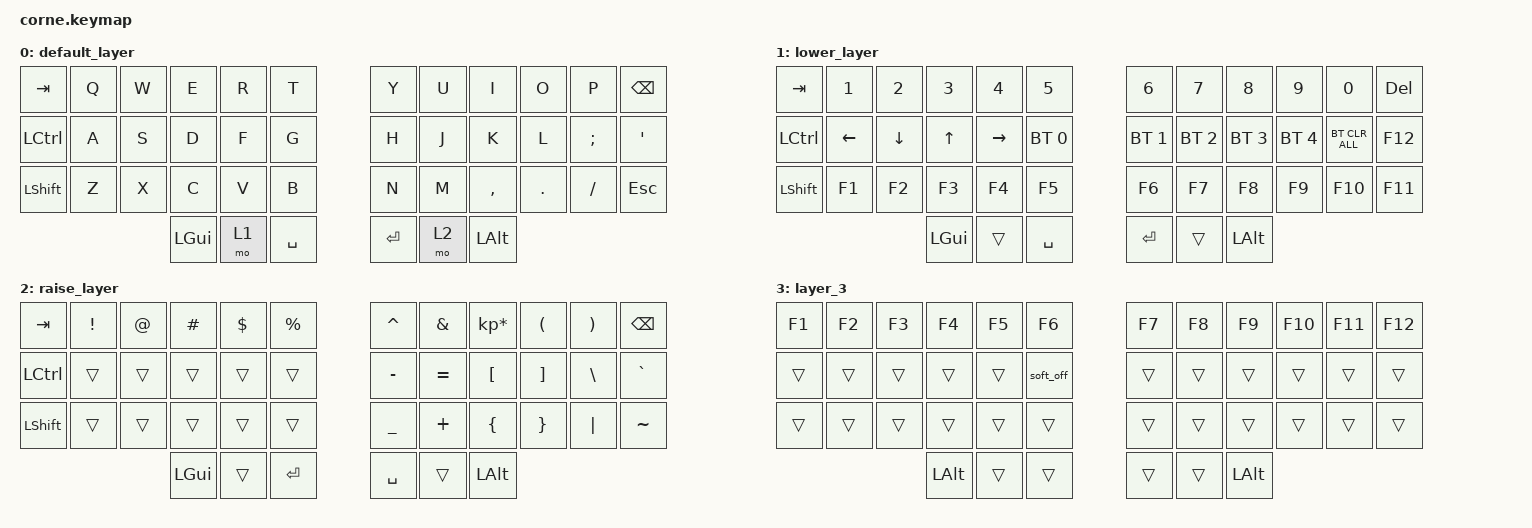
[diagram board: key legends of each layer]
/*
 * Copyright (c) 2020 The ZMK Contributors
 *
 * SPDX-License-Identifier: MIT
 */

#include <behaviors.dtsi>
#include <dt-bindings/zmk/bt.h>
#include <dt-bindings/zmk/keys.h>

&soft_off {
    compatible = "zmk,behavior-soft-off";
    #binding-cells = <0>;
    hold-time-ms = <3000>; // Only turn off it the key is held for 3 seconds or longer.
};

/ {
    behaviors {
    };

    keymap {
        compatible = "zmk,keymap";

        default_layer {
            // -----------------------------------------------------------------------------------------
            // |  TAB |  Q  |  W  |  E  |  R  |  T  |   |  Y  |  U   |  I  |  O  |  P  | BKSP |
            // | CTRL |  A  |  S  |  D  |  F  |  G  |   |  H  |  J   |  K  |  L  |  ;  |  '   |
            // | SHFT |  Z  |  X  |  C  |  V  |  B  |   |  B  |  N   |  M  |  ,  |  .  | ESC  |
            //                    | ALT | LWR | ENT |   | SPC | RSE  | GUI |

            bindings = <
&kp TAB    &kp Q  &kp W  &kp E     &kp R  &kp T        &kp Y      &kp U  &kp I         &kp O       &kp P      &kp BSPC
&kp LCTRL  &kp A  &kp S  &kp D     &kp F  &kp G        &kp H      &kp J  &kp K         &kp L       &kp SEMI   &kp SQT
&kp LSHFT  &kp Z  &kp X  &kp C     &kp V  &kp B        &kp N      &kp M  &kp COMMA     &kp PERIOD  &kp SLASH  &kp ESCAPE
                         &kp LGUI  &mo 1  &kp SPACE    &kp ENTER  &mo 2  &kp LEFT_ALT
            >;
        };
 lower_layer {
            // -----------------------------------------------------------------------------------------
            // |  TAB |  1  |  2  |  3  |  4  |  5  |   |  6  |  7  |  8  |  9  |  0  | DEL  |
            // | BTCLR| BT1 | BT2 | BT3 | BT4 | BT5 |   |     |     |     | VOL_UP|  UP | VOL_DN |
            // | SHFT | FSLZ |EXT_POWER_OFF_CMD|     |     |     |   |     |     |     | LFT | DWN | RGT  |
            //                    | GUI |     | RET |   | SPC |     | ALT |
            bindings = <
&kp TAB         &kp N1        &kp N2        &kp N3        &kp N4        &kp N5          &kp N6     &kp N7    &kp N8    &kp N9     &kp N0   &kp DEL
&kp LCTRL       &kp LEFT      &kp DOWN      &kp UP        &kp RIGHT     &bt BT_SEL 0    &bt BT_SEL 1   &bt BT_SEL 2  &bt BT_SEL 3    &bt BT_SEL 4  &bt BT_CLR_ALL  &kp F12
&kp LSHFT       &kp F1        &kp F2        &kp F3        &kp F4        &kp F5          &kp F6     &kp F7    &kp F8    &kp F9     &kp F10  &kp F11
                                            &kp LGUI      &trans        &kp SPACE       &kp ENTER  &trans    &kp LALT
            >;
        };
        raise_layer {
            // -----------------------------------------------------------------------------------------
            // |  TAB |  !  |  @  |  #  |  $  |  %  |   |  ^  |  &  |  *  |  (  |  )  | BKSP |
            // | CTRL |     |     |     |     |     |   |  -  |  =  |  [  |  ]  |  \  |  `   |
            // | SHFT |     |     |     |     |     |   |  _  |  +  |  {  |  }  | "|" |  ~   |
            //                    | GUI |     | SPC |   | ENT |     | ALT |
            bindings = <
&kp TAB    &kp EXCL  &kp AT  &kp HASH  &kp DLLR  &kp PRCNT    &kp CARET  &kp AMPS   &kp KP_MULTIPLY  &kp LPAR  &kp RPAR  &kp BSPC
&kp LCTRL  &trans    &trans  &trans    &trans    &trans       &kp MINUS  &kp EQUAL  &kp LBKT         &kp RBKT  &kp BSLH  &kp GRAVE
&kp LSHFT  &trans    &trans  &trans    &trans    &trans       &kp UNDER  &kp PLUS   &kp LBRC         &kp RBRC  &kp PIPE  &kp TILDE
                             &kp LGUI  &trans    &kp RET    &kp SPACE   &trans     &kp LALT
            >;
        };
        layer_3 {
            bindings = <
&kp F1  &kp F2  &kp F3  &kp F4    &kp F5  &kp F6       &kp F7  &kp F8  &kp F9    &kp F10  &kp F11  &kp F12
&trans  &trans  &trans  &trans    &trans  &soft_off    &trans  &trans  &trans    &trans   &trans   &trans
&trans  &trans  &trans  &trans    &trans  &trans       &trans  &trans  &trans    &trans   &trans   &trans
                        &kp LALT  &trans  &trans       &trans  &trans  &kp LALT
            >;
        };
    };
    conditional_layers {
        compatible = "zmk,conditional-layers";
        both {
            if-layers = <2 1>;
            then-layer = <3>;
        };
    };
};
